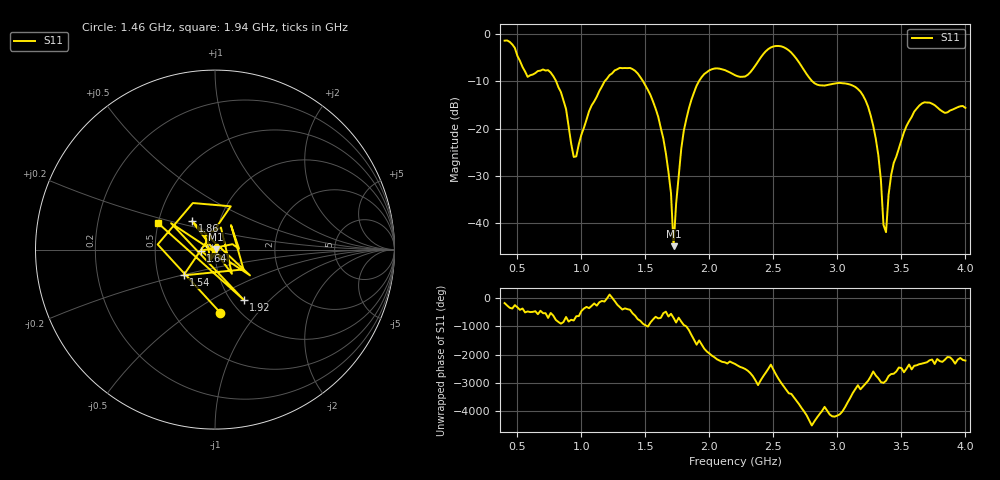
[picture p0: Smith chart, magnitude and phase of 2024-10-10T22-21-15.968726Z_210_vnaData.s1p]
! Created with skrf (http://scikit-rf.org).
# Hz S RI R 50.0
!freq ReS11 ImS11
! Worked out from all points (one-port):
!   181 points, 400 MHz to 4 GHz, reference 50 ohm
!   lowest |S11| = -44.8 dB at 1.72 GHz (marker M1), VSWR 1.01, Z = 50.5 + j0.196 ohm
!   |S11| at or under -10 dB: 802.9 MHz to 1.18 GHz (377.5 MHz wide, 38.1 % of centre); 1.483 GHz to 1.917 GHz (435 MHz wide, 25.6 % of centre); 2.806 GHz to end of sweep
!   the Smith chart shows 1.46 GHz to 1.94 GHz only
!   S11 on the Smith chart (normalised r, x): 1.46 GHz: 0.82, -0.66; 1.54 GHz: 0.68, -0.20; 1.64 GHz: 0.85, -0.01; 1.86 GHz: 0.74, +0.24; 1.92 GHz: 1.14, -0.71; 1.94 GHz: 0.50, +0.17
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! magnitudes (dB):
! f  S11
! 400 MHz  -1.4
! 580 MHz  -9.0
! 760 MHz  -8.1
! 860 MHz  -14.0
! 960 MHz  -25.8
! 1.08 GHz  -15.1
! 1.3 GHz  -7.1
! 1.46 GHz  -9.1
! 1.54 GHz  -12.9
! 1.64 GHz  -22.1
! 1.7 GHz  -33.6
! 1.72 GHz  -44.8
! 1.76 GHz  -30.0
! 1.8 GHz  -20.4
! 1.86 GHz  -13.8
! 1.92 GHz  -9.9
! 1.94 GHz  -9.1
! 2.2 GHz  -8.7
! 2.5 GHz  -2.6
! 2.66 GHz  -4.5
! 2.84 GHz  -10.6
! 3.1 GHz  -10.6
! 3.28 GHz  -19.4
! 3.38 GHz  -41.9
! 3.42 GHz  -29.8
! 3.56 GHz  -18.4
! 3.68 GHz  -14.4
! 4 GHz  -15.6
